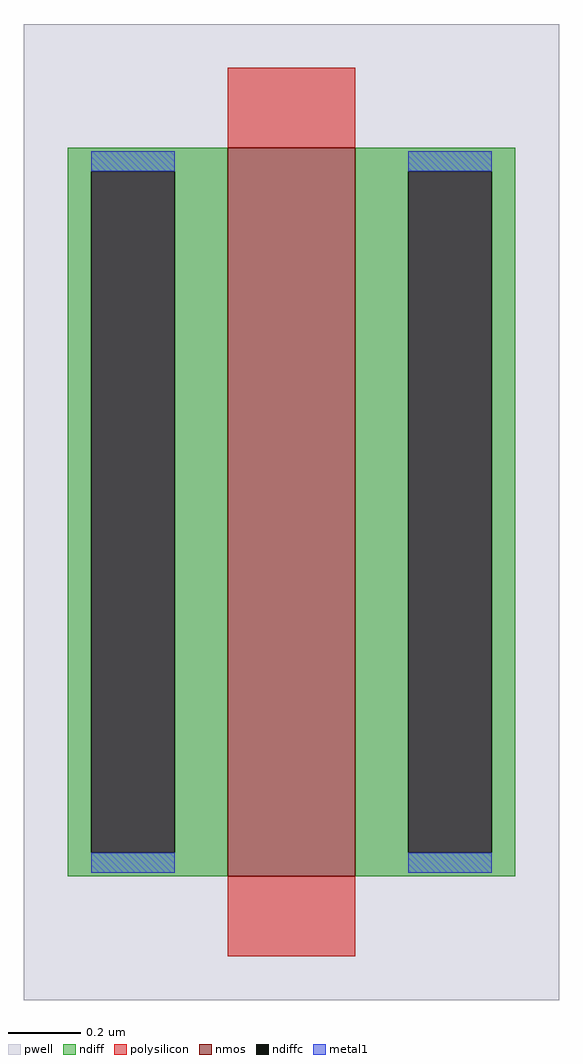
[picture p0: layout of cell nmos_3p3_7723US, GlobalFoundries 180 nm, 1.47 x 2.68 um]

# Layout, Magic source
magic
tech gf180mcuC
magscale 1 10
<< pwell >>
rect -147 -268 147 268
<< nmos >>
rect -35 -200 35 200
<< ndiff >>
rect -123 187 -35 200
rect -123 -187 -110 187
rect -64 -187 -35 187
rect -123 -200 -35 -187
rect 35 187 123 200
rect 35 -187 64 187
rect 110 -187 123 187
rect 35 -200 123 -187
<< ndiffc >>
rect -110 -187 -64 187
rect 64 -187 110 187
<< polysilicon >>
rect -35 200 35 244
rect -35 -244 35 -200
<< metal1 >>
rect -110 187 -64 198
rect -110 -198 -64 -187
rect 64 187 110 198
rect 64 -198 110 -187
<< properties >>
string gencell nmos_3p3
string library gf180mcu
string parameters w 2 l 0.350 m 1 nf 1 diffcov 100 polycov 100 guard 0 glc 0 grc 0 gtc 0 gbc 0 tbcov 100 rlcov 100 topc 0 botc 0 poverlap 0 doverlap 1 lmin 0.28 wmin 0.22 full_metal 0 compatible {nmos_3p3 nmos_6p0 nmos_6p0_nat}
<< end >>
